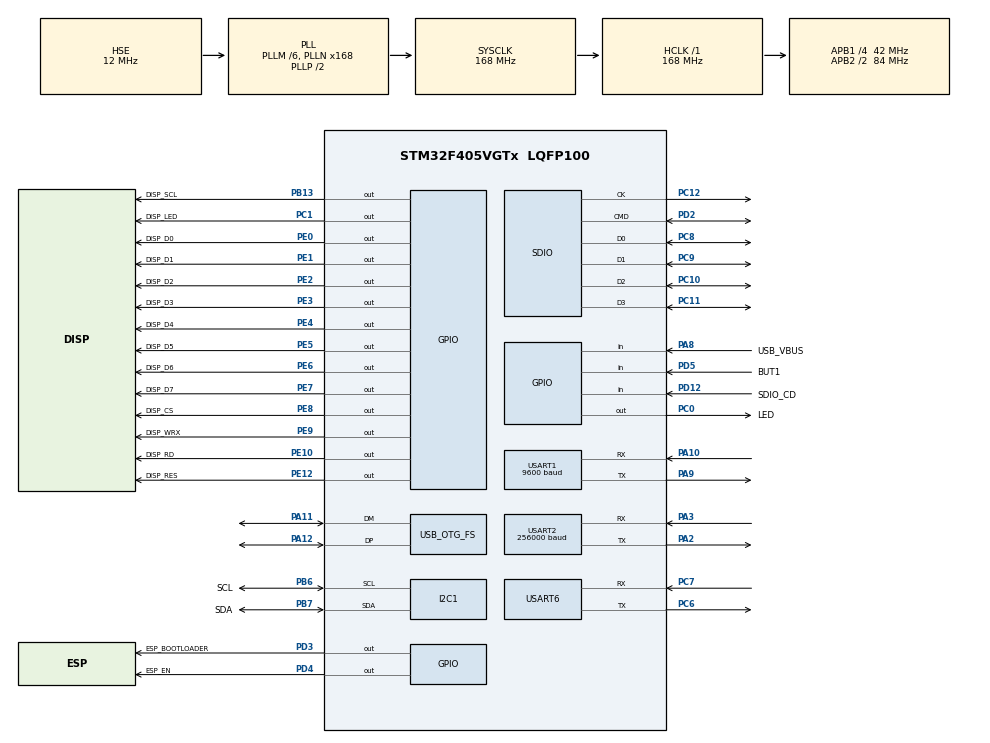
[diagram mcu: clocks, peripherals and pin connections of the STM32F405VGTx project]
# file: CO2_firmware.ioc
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Dma.Request0=SDIO_RX
Dma.Request1=SDIO_TX
Dma.Request2=USART2_RX
Dma.SDIO_RX.0.Direction=DMA_PERIPH_TO_MEMORY
Dma.SDIO_RX.0.FIFOMode=DMA_FIFOMODE_ENABLE
Dma.SDIO_RX.0.FIFOThreshold=DMA_FIFO_THRESHOLD_FULL
Dma.SDIO_RX.0.Instance=DMA2_Stream3
Dma.SDIO_RX.0.MemBurst=DMA_MBURST_INC4
Dma.SDIO_RX.0.MemDataAlignment=DMA_MDATAALIGN_WORD
Dma.SDIO_RX.0.MemInc=DMA_MINC_ENABLE
Dma.SDIO_RX.0.Mode=DMA_PFCTRL
Dma.SDIO_RX.0.PeriphBurst=DMA_PBURST_INC4
Dma.SDIO_RX.0.PeriphDataAlignment=DMA_PDATAALIGN_WORD
Dma.SDIO_RX.0.PeriphInc=DMA_PINC_DISABLE
Dma.SDIO_RX.0.Priority=DMA_PRIORITY_VERY_HIGH
Dma.SDIO_TX.1.Direction=DMA_MEMORY_TO_PERIPH
Dma.SDIO_TX.1.FIFOMode=DMA_FIFOMODE_ENABLE
Dma.SDIO_TX.1.FIFOThreshold=DMA_FIFO_THRESHOLD_FULL
Dma.SDIO_TX.1.Instance=DMA2_Stream6
Dma.SDIO_TX.1.MemBurst=DMA_MBURST_INC4
Dma.SDIO_TX.1.MemDataAlignment=DMA_MDATAALIGN_WORD
Dma.SDIO_TX.1.MemInc=DMA_MINC_ENABLE
Dma.SDIO_TX.1.Mode=DMA_PFCTRL
Dma.SDIO_TX.1.PeriphBurst=DMA_PBURST_INC4
Dma.SDIO_TX.1.PeriphDataAlignment=DMA_PDATAALIGN_WORD
Dma.SDIO_TX.1.PeriphInc=DMA_PINC_DISABLE
Dma.SDIO_TX.1.Priority=DMA_PRIORITY_VERY_HIGH
Dma.USART2_RX.2.Direction=DMA_PERIPH_TO_MEMORY
Dma.USART2_RX.2.FIFOMode=DMA_FIFOMODE_DISABLE
Dma.USART2_RX.2.Instance=DMA1_Stream5
Dma.USART2_RX.2.MemDataAlignment=DMA_MDATAALIGN_BYTE
Dma.USART2_RX.2.MemInc=DMA_MINC_ENABLE
Dma.USART2_RX.2.Mode=DMA_CIRCULAR
Dma.USART2_RX.2.PeriphDataAlignment=DMA_PDATAALIGN_BYTE
Dma.USART2_RX.2.PeriphInc=DMA_PINC_DISABLE
Dma.USART2_RX.2.Priority=DMA_PRIORITY_HIGH
FATFS.BSP.number=1
FATFS0.BSP.STBoard=false
FATFS0.BSP.api=Unknown
FATFS0.BSP.instance=PD12
FATFS0.BSP.ip=GPIO
FATFS0.BSP.mode=Input
FATFS0.BSP.name=Detect_SDIO
FATFS0.BSP.solution=PD12
Mcu.Family=STM32F4
Mcu.Name=STM32F405VGTx
Mcu.Package=LQFP100
NVIC.DMA1_Stream5_IRQn=true\:0\:0\:false\:false\:true\:false\:true\:true
NVIC.DMA2_Stream3_IRQn=true\:0\:0\:false\:false\:true\:false\:true\:true
NVIC.DMA2_Stream6_IRQn=true\:0\:0\:false\:false\:true\:false\:true\:true
NVIC.OTG_FS_IRQn=true\:0\:0\:false\:false\:true\:false\:true\:true
NVIC.PriorityGroup=NVIC_PRIORITYGROUP_4
NVIC.SDIO_IRQn=true\:0\:0\:false\:false\:true\:true\:true\:true
NVIC.USART2_IRQn=true\:0\:0\:false\:false\:true\:true\:true\:true
NVIC.USART6_IRQn=true\:0\:0\:false\:false\:true\:true\:true\:true
PA10.Mode=Asynchronous
PA10.Signal=USART1_RX
PA11.Mode=Device_Only
PA11.Signal=USB_OTG_FS_DM
PA12.Mode=Device_Only
PA12.Signal=USB_OTG_FS_DP
PA2.Mode=Asynchronous
PA2.Signal=USART2_TX
PA3.Mode=Asynchronous
PA3.Signal=USART2_RX
PA8.GPIO_Label=USB_VBUS
PA8.Signal=GPIO_Input
PA9.Mode=Asynchronous
PA9.Signal=USART1_TX
PB13.GPIO_Label=DISP_SCL
PB13.GPIO_Speed=GPIO_SPEED_FREQ_HIGH
PB13.PinState=GPIO_PIN_SET
PB13.Signal=GPIO_Output
PB6.GPIO_Label=SCL
PB6.Mode=I2C
PB6.Signal=I2C1_SCL
PB7.GPIO_Label=SDA
PB7.Mode=I2C
PB7.Signal=I2C1_SDA
PC0.GPIO_Label=LED
PC0.Signal=GPIO_Output
PC1.GPIO_Label=DISP_LED
PC1.Signal=GPIO_Output
PC10.GPIO_PuPd=GPIO_PULLUP
PC10.Mode=SD_4_bits_Wide_bus
PC10.Signal=SDIO_D2
PC11.GPIO_PuPd=GPIO_PULLUP
PC11.Mode=SD_4_bits_Wide_bus
PC11.Signal=SDIO_D3
PC12.Mode=SD_4_bits_Wide_bus
PC12.Signal=SDIO_CK
PC6.Mode=Asynchronous
PC6.Signal=USART6_TX
PC7.Mode=Asynchronous
PC7.Signal=USART6_RX
PC8.GPIO_PuPd=GPIO_PULLUP
PC8.Mode=SD_4_bits_Wide_bus
PC8.Signal=SDIO_D0
PC9.GPIO_PuPd=GPIO_PULLUP
PC9.Mode=SD_4_bits_Wide_bus
PC9.Signal=SDIO_D1
PD12.GPIO_Label=SDIO_CD
PD12.Signal=GPIO_Input
PD2.GPIO_PuPd=GPIO_PULLUP
PD2.Mode=SD_4_bits_Wide_bus
PD2.Signal=SDIO_CMD
PD3.GPIO_Label=ESP_BOOTLOADER
PD3.Signal=GPIO_Output
PD4.GPIO_Label=ESP_EN
PD4.Signal=GPIO_Output
PD5.GPIO_Label=BUT1
PD5.GPIO_PuPd=GPIO_PULLUP
PD5.Signal=GPIO_Input
PE0.GPIO_Label=DISP_D0
PE0.GPIO_Speed=GPIO_SPEED_FREQ_HIGH
PE0.Signal=GPIO_Output
PE1.GPIO_Label=DISP_D1
PE1.GPIO_Speed=GPIO_SPEED_FREQ_HIGH
PE1.Signal=GPIO_Output
PE10.GPIO_Label=DISP_RD
PE10.GPIO_Speed=GPIO_SPEED_FREQ_VERY_HIGH
PE10.PinState=GPIO_PIN_SET
PE10.Signal=GPIO_Output
PE12.GPIO_Label=DISP_RES
PE12.PinState=GPIO_PIN_SET
PE12.Signal=GPIO_Output
PE2.GPIO_Label=DISP_D2
PE2.GPIO_Speed=GPIO_SPEED_FREQ_HIGH
PE2.Signal=GPIO_Output
PE3.GPIO_Label=DISP_D3
PE3.GPIO_Speed=GPIO_SPEED_FREQ_HIGH
PE3.Signal=GPIO_Output
PE4.GPIO_Label=DISP_D4
PE4.GPIO_Speed=GPIO_SPEED_FREQ_HIGH
PE4.Signal=GPIO_Output
PE5.GPIO_Label=DISP_D5
PE5.GPIO_Speed=GPIO_SPEED_FREQ_HIGH
PE5.Signal=GPIO_Output
PE6.GPIO_Label=DISP_D6
PE6.GPIO_Speed=GPIO_SPEED_FREQ_HIGH
PE6.Signal=GPIO_Output
PE7.GPIO_Label=DISP_D7
PE7.GPIO_Speed=GPIO_SPEED_FREQ_HIGH
PE7.Signal=GPIO_Output
PE8.GPIO_Label=DISP_CS
PE8.GPIO_Speed=GPIO_SPEED_FREQ_HIGH
PE8.PinState=GPIO_PIN_SET
PE8.Signal=GPIO_Output
PE9.GPIO_Label=DISP_WRX
PE9.GPIO_Speed=GPIO_SPEED_FREQ_VERY_HIGH
PE9.PinState=GPIO_PIN_SET
PE9.Signal=GPIO_Output
PH0-OSC_IN.Mode=HSE-External-Oscillator
PH0-OSC_IN.Signal=RCC_OSC_IN
PH1-OSC_OUT.Mode=HSE-External-Oscillator
PH1-OSC_OUT.Signal=RCC_OSC_OUT
ProjectManager.HeapSize=0x200
ProjectManager.StackSize=0x400
ProjectManager.TargetToolchain=STM32CubeIDE
RCC.48MHZClocksFreq_Value=48000000
RCC.AHBFreq_Value=168000000
RCC.APB1CLKDivider=RCC_HCLK_DIV4
RCC.APB1Freq_Value=42000000
RCC.APB1TimFreq_Value=84000000
RCC.APB2CLKDivider=RCC_HCLK_DIV2
RCC.APB2Freq_Value=84000000
RCC.APB2TimFreq_Value=168000000
RCC.CortexFreq_Value=168000000
RCC.HCLKFreq_Value=168000000
RCC.HSE_VALUE=12000000
RCC.HSI_VALUE=16000000
RCC.LSE_VALUE=32768
RCC.PLLM=6
RCC.PLLN=168
RCC.PLLQ=7
RCC.SYSCLKFreq_VALUE=168000000
RCC.SYSCLKSource=RCC_SYSCLKSOURCE_PLLCLK
RCC.VCOOutputFreq_Value=336000000
SDIO.ClockDiv=4
USART1.BaudRate=9600
USART1.VirtualMode=VM_ASYNC
USART2.BaudRate=256000
USART2.VirtualMode=VM_ASYNC
USART6.VirtualMode=VM_ASYNC
USB_DEVICE.CLASS_NAME_FS=MSC
USB_DEVICE.VirtualMode-MSC_FS=Msc
USB_DEVICE.VirtualModeFS=Msc_FS
USB_OTG_FS.VirtualMode=Device_Only
VP_FATFS_VS_Generic.Mode=User_defined
VP_FATFS_VS_SDIO.Mode=SDIO
VP_USB_DEVICE_VS_USB_DEVICE_MSC_FS.Mode=MSC_FS
board=custom

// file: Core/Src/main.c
/* USER CODE BEGIN Header */
/**
  ******************************************************************************
  * @file           : main.c
  * @brief          : Main program body
  ******************************************************************************
  * @attention
  *
  * Copyright (c) 2026 STMicroelectronics.
  * All rights reserved.
  *
  * This software is licensed under terms that can be found in the LICENSE file
  * in the root directory of this software component.
  * If no LICENSE file comes with this software, it is provided AS-IS.
  *
  ******************************************************************************
  */
/* USER CODE END Header */
#include "main.h"
#include "dma.h"
#include "fatfs.h"
#include "i2c.h"
#include "sdio.h"
#include "usart.h"
#include "usb_device.h"
#include "gpio.h"

/* USER CODE BEGIN Includes */
#include "usb_service.h"
#include "storage_service.h"
#include "screen_manager.h"
#include "app.h"
#include "sensor_service.h"
#include "power_service.h"
#include "debug_console.h" // исключить позже
#include "esp_transport.h" //удалить после отладки
#include "wifi_manager.h"
/* USER CODE END Includes */

/* USER CODE BEGIN PV */
uint8_t TxSD[500];
uint16_t TxSDLen;
/* USER CODE END PV */

void SystemClock_Config(void);
/* USER CODE BEGIN PFP */
static void Periph_Init(void);
/* USER CODE END PFP */

int main(void)
{

  /* MCU Configuration--------------------------------------------------------*/

  /* Reset of all peripherals, Initializes the Flash interface and the Systick. */
  HAL_Init();

  /* Configure the system clock */
  SystemClock_Config();

  /* Initialize all configured peripherals */

  /* USER CODE BEGIN 2 */
  Periph_Init();
  ESP_Transport_PowerOn();
  ESP_Transport_Init();
  Power_Service_Init();
  Screen_Init();
  Storage_Service_Init();
  USB_Service_Init();
  Sensor_Service_Init();
  App_Init();
  WIFI_Manager_Init();
  /* USER CODE END 2 */
  /* Infinite loop */
  /* USER CODE BEGIN WHILE */
  while (1)
  {
	  Power_Service_Process();
	  USB_Service_Process();
	  Sensor_Service_Process();

	  if (App_GetState() != APP_STATE_USB_MSC) {
	          ESP_Transport_Process();
	          WIFI_Manager_Process();
	      }
	  App_Process();

	 /* if(ESP_Transport_GetLine(esp_line, sizeof(esp_line)))
	  {
	      Debug_Printf("ESP: %s\r\n", esp_line);
	  }*/
    /* USER CODE END WHILE */

  }
}

void SystemClock_Config(void)
{
  RCC_OscInitTypeDef RCC_OscInitStruct = {0};
  RCC_ClkInitTypeDef RCC_ClkInitStruct = {0};

  /** Configure the main internal regulator output voltage
  */
  __HAL_RCC_PWR_CLK_ENABLE();
  __HAL_PWR_VOLTAGESCALING_CONFIG(PWR_REGULATOR_VOLTAGE_SCALE1);

  /** Initializes the RCC Oscillators according to the specified parameters
  * in the RCC_OscInitTypeDef structure.
  */
  RCC_OscInitStruct.OscillatorType = RCC_OSCILLATORTYPE_HSE;
  RCC_OscInitStruct.HSEState = RCC_HSE_ON;
  RCC_OscInitStruct.PLL.PLLState = RCC_PLL_ON;
  RCC_OscInitStruct.PLL.PLLSource = RCC_PLLSOURCE_HSE;
  RCC_OscInitStruct.PLL.PLLM = 6;
  RCC_OscInitStruct.PLL.PLLN = 168;
  RCC_OscInitStruct.PLL.PLLP = RCC_PLLP_DIV2;
  RCC_OscInitStruct.PLL.PLLQ = 7;
  if (HAL_RCC_OscConfig(&RCC_OscInitStruct) != HAL_OK)
  {
    Error_Handler();
  }

  /** Initializes the CPU, AHB and APB buses clocks
  */
  RCC_ClkInitStruct.ClockType = RCC_CLOCKTYPE_HCLK|RCC_CLOCKTYPE_SYSCLK
                              |RCC_CLOCKTYPE_PCLK1|RCC_CLOCKTYPE_PCLK2;
  RCC_ClkInitStruct.SYSCLKSource = RCC_SYSCLKSOURCE_PLLCLK;
  RCC_ClkInitStruct.AHBCLKDivider = RCC_SYSCLK_DIV1;
  RCC_ClkInitStruct.APB1CLKDivider = RCC_HCLK_DIV4;
  RCC_ClkInitStruct.APB2CLKDivider = RCC_HCLK_DIV2;

  if (HAL_RCC_ClockConfig(&RCC_ClkInitStruct, FLASH_LATENCY_5) != HAL_OK)
  {
    Error_Handler();
  }
}

/* USER CODE BEGIN 4 */
static void Periph_Init(void)
{
    MX_GPIO_Init();
    MX_DMA_Init();
    MX_SDIO_SD_Init();
    MX_USART1_UART_Init();
    MX_USART2_UART_Init();
    MX_USART6_UART_Init();
    MX_I2C1_Init();
    MX_FATFS_Init();
    MX_USB_DEVICE_Init();
}

/* USER CODE END 4 */

void Error_Handler(void)
{
  __disable_irq();
  while (1)
  {
  }
}
